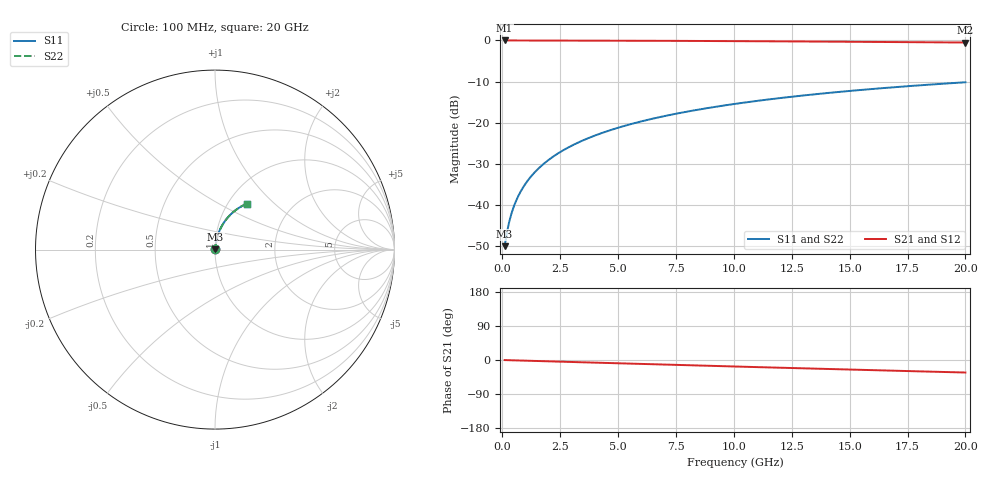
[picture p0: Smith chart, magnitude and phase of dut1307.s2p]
! Touchstone file exported from HFSS 2026.1.0
!  File:  C:/ffzhzh/LocalFiles/Ansys_Project_Files/temp_train_BSMRDL_1307_1783178290_43440.aedt
!  Generated:  11:19:25 PM Jul  4, 2026
!  Design:  BSMRDL
!  Project:  temp_train_BSMRDL_1307_1783178290_43440
! Variables:
!  h_bsmrdl = 3.07um
!  h_ox = 20um
!  h_rdl = 5um
!  h_sub = 80um
!  h_tmrdl = 5um
!  h_tsv = 80um
!  h_via = 3um
!  l_bsmrdl = 460.43um
!  l_sub = 860.43um
!  l_tmrdl = 200um
!  m_sub = 200um
!  pitch = 48.8um
!  r_tsv = 6um
!  s_tmrdl = 10um
!  w_bsmrdl = 23.32um
!  w_sub = 500um
!  w_tmrdl = 12um
!  x_tsv_center1 = 206um
!  x_tsv_center2 = 689.75um
!  x_tsv_center3 = 901.75um
!  x_tsv_center4 = 1385.5um
!  x_tsv_center5 = 1597.5um
!  x_tsv_center6 = 2081.25um
# GHz S MA R 50.000000
! Terminal data exported
! Port[1] = BSM_RDL1_1_T1
! Port[2] = BSM_RDL1_1_T2
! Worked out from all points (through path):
!   200 points, 100 MHz to 20 GHz, reference 50 ohm
!   highest |S21| = -0.02 dB at 100 MHz (marker M1); lowest = -0.5 dB at 20 GHz (marker M2)
!   group delay of S21, straight-line fit = 4.59 ps
!   lowest |S11| = -49.9 dB at 100 MHz (marker M3), VSWR 1.01, Z = 50.3 + j0.195 ohm
!   |S11| at or under -10 dB: start of sweep to end of sweep
!   |S22| runs from -49.9 to -10.2 dB; largest |S21 - S12| = 2.1e-15
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0.1  0.003187 37.5  0.9975 -0.2  0.9975 -0.2  0.003187 37.5
! Gamma 0 0 0 0
! Port Impedance 50 0 50 0
0.2  0.004657 55.3  0.9974 -0.4  0.9974 -0.4  0.004657 55.3
0.3  0.006312 63.6  0.9972 -0.5  0.9972 -0.5  0.006312 63.6
0.4  0.007998 68.2  0.9971 -0.7  0.9971 -0.7  0.007998 68.2
0.5  0.009687 71.2  0.997 -0.9  0.997 -0.9  0.009687 71.2
0.6  0.01138 73.4  0.9969 -1.1  0.9969 -1.1  0.01138 73.4
0.8  0.01478 76.2  0.9967 -1.4  0.9967 -1.4  0.01478 76.2
1.1  0.01991 78.6  0.9965 -1.9  0.9965 -1.9  0.01991 78.6
1.3  0.02336 79.5  0.9964 -2.3  0.9964 -2.3  0.02336 79.5
1.6  0.02855 80.4  0.9962 -2.8  0.9962 -2.8  0.02855 80.4
2.1  0.03722 80.9  0.9958 -3.7  0.9958 -3.7  0.03722 80.9
2.7  0.04763 80.9  0.9952 -4.7  0.9952 -4.7  0.04763 80.9
3.5  0.06146 80.3  0.9942 -6.1  0.9942 -6.1  0.06145 80.3
4.2  0.07348 79.5  0.9932 -7.3  0.9932 -7.3  0.07348 79.5
5  0.08711 78.4  0.9918 -8.7  0.9918 -8.7  0.08711 78.4
5.9  0.1023 77.1  0.99 -10.2  0.99 -10.2  0.1023 77.1
6.8  0.1173 75.7  0.988 -11.7  0.988 -11.7  0.1173 75.7
8.3  0.1418 73.4  0.9842 -14.3  0.9842 -14.3  0.1418 73.4
10.1  0.1704 70.6  0.9789 -17.3  0.9789 -17.3  0.1704 70.6
13.4  0.2205 65.4  0.9679 -22.7  0.9679 -22.7  0.2205 65.4
16.7  0.2672 60.3  0.9553 -27.9  0.9553 -27.9  0.2672 60.3
20  0.3102 55.3  0.9417 -33.1  0.9417 -33.1  0.3102 55.3
